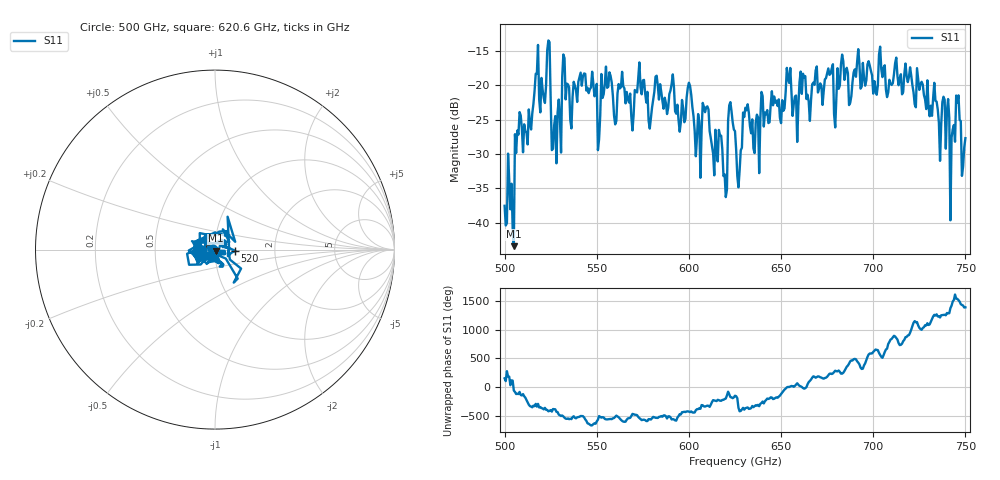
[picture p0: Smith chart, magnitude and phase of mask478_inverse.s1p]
!Created with skrf (http://scikit-rf.org).
# GHz S MA R 50.0
!freq magS11 angS11
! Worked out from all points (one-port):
!   401 points, 500 GHz to 750 GHz, reference 50 ohm
!   lowest |S11| = -43.4 dB at 505 GHz (marker M1), VSWR 1.01, Z = 50.3 - j0.582 ohm
!   |S11| at or under -10 dB: start of sweep to end of sweep
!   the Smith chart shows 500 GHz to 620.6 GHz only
!   S11 on the Smith chart (normalised r, x): 500 GHz: 0.98, +0.01; 520 GHz: 1.25, -0.02; 620.6 GHz: 0.97, -0.02
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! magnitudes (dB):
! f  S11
! 500 GHz  -37.5
! 505 GHz  -43.4
! 508.1 GHz  -23.9
! 520 GHz  -18.9
! 523.8 GHz  -13.5
! 526.9 GHz  -25.9
! 531.2 GHz  -18.8
! 542.5 GHz  -18.7
! 550.6 GHz  -29.5
! 562.5 GHz  -20.5
! 590.6 GHz  -19.8
! 593.8 GHz  -22.8
! 600 GHz  -19.6
! 605 GHz  -24.2
! 608.8 GHz  -23.9
! 620.6 GHz  -35.2
! 622.5 GHz  -22.5
! 625 GHz  -26.7
! 627.5 GHz  -32.5
! 630.6 GHz  -23.3
! 636.9 GHz  -24.3
! 656.2 GHz  -24.5
! 687.5 GHz  -22.6
! 718.8 GHz  -19.6
! 739.4 GHz  -29.2
! 743.1 GHz  -26.4
! 746.2 GHz  -21.5
! 750 GHz  -27.7
